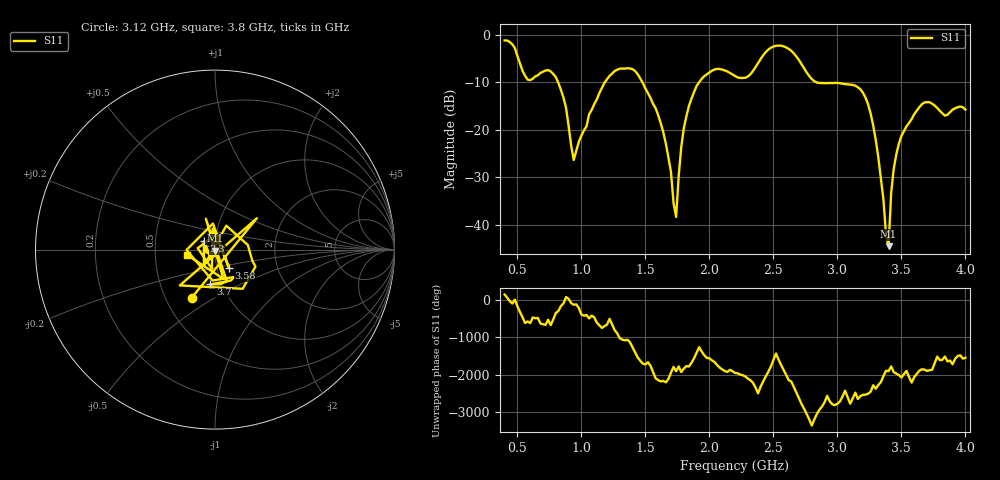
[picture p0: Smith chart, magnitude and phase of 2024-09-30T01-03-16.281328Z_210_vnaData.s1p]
!Created with skrf (http://scikit-rf.org).
# Hz S RI R 50.0
!freq ReS11 ImS11
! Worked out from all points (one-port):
!   181 points, 400 MHz to 4 GHz, reference 50 ohm
!   lowest |S11| = -44.6 dB at 3.4 GHz (marker M1), VSWR 1.01, Z = 49.9 - j0.572 ohm
!   |S11| at or under -10 dB: 817.9 MHz to 1.183 GHz (364.6 MHz wide, 36.4 % of centre); 1.476 GHz to 1.919 GHz (442.9 MHz wide, 26.1 % of centre); 2.836 GHz to end of sweep
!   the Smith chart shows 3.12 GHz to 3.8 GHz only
!   S11 on the Smith chart (normalised r, x): 3.12 GHz: 0.68, -0.40; 3.3 GHz: 0.88, +0.08; 3.58 GHz: 1.14, -0.24; 3.7 GHz: 0.88, -0.35; 3.8 GHz: 0.73, -0.04
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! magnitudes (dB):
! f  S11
! 400 MHz  -1.2
! 580 MHz  -9.4
! 760 MHz  -7.7
! 860 MHz  -13.2
! 940 MHz  -26.4
! 1.18 GHz  -10.1
! 1.3 GHz  -7.1
! 1.58 GHz  -15.5
! 1.66 GHz  -23.0
! 1.74 GHz  -38.4
! 1.76 GHz  -29.8
! 1.8 GHz  -19.7
! 1.9 GHz  -10.8
! 2.2 GHz  -8.7
! 2.5 GHz  -2.5
! 2.66 GHz  -3.9
! 2.82 GHz  -9.8
! 3.1 GHz  -10.5
! 3.12 GHz  -10.6
! 3.22 GHz  -13.3
! 3.3 GHz  -22.2
! 3.4 GHz  -44.6
! 3.44 GHz  -28.3
! 3.56 GHz  -18.6
! 3.58 GHz  -17.8
! 3.7 GHz  -14.2
! 3.8 GHz  -16.0
! 4 GHz  -15.8
